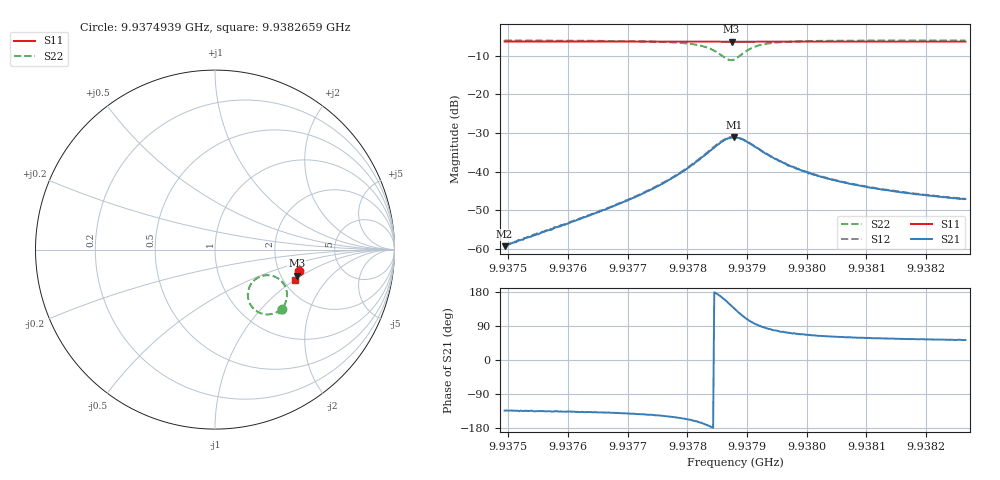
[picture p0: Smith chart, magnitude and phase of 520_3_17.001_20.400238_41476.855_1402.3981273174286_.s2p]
#  HZ  S  RI  R  50.00
! Rohde & Schwarz Vector Network Analyzer
! Rohde-Schwarz,ZNB20-2Port,1311601062101988,3.16
! Created: UTC 3/20/2024, 11:15:22 PM
! freq[Hz]  re:S11  im:S11  re:S21  im:S21  re:S12  im:S12  re:S22  im:S22
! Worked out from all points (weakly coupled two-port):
!   401 points, 9.9374939 GHz to 9.9382659 GHz, reference 50 ohm
!   highest |S21| = -31.13 dB at 9.9378779 GHz (marker M1); lowest = -59.3 dB at 9.9374939 GHz (marker M2)
!   lowest |S11| = -6.4 dB at 9.9378741 GHz (marker M3), VSWR 2.83, Z = 122 - j45.5 ohm
!   |S11| at or under -10 dB: nowhere
!   |S22| runs from -11.2 to -6.1 dB; largest |S21 - S12| = 0.0012
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9.93749385e9  0.4674 -0.1211  -0.00075 -0.000788  -0.000802 -0.000773  0.371 -0.33
9.93762316e9  0.4645 -0.1297  -0.00183 -0.00172  -0.00186 -0.00167  0.3552 -0.342
9.93770422e9  0.4623 -0.1353  -0.00345 -0.00276  -0.00355 -0.0027  0.3369 -0.3517
9.93775248e9  0.461 -0.1386  -0.0055 -0.00368  -0.00568 -0.00368  0.317 -0.3584
9.93778915e9  0.4597 -0.1413  -0.00865 -0.00435  -0.00888 -0.00431  0.2893 -0.361
9.93781231e9  0.4588 -0.1427  -0.0122 -0.00427  -0.0124 -0.00422  0.2602 -0.3565
9.93782968e9  0.4578 -0.1438  -0.0162 -0.00286  -0.0166 -0.00268  0.2294 -0.3412
9.93784319e9  0.4569 -0.1444  -0.02 -0.000272  -0.0206 0.000366  0.202 -0.3137
9.9378567e9  0.4561 -0.1446  -0.0235 0.00558  -0.0238 0.0063  0.1834 -0.2631
9.93786635e9  0.4557 -0.1445  -0.0239 0.0115  -0.024 0.0126  0.1897 -0.2147
9.93787407e9  0.4555 -0.1445  -0.0219 0.0167  -0.0219 0.0177  0.2124 -0.1777
9.93787793e9  0.4556 -0.1443  -0.0203 0.0189  -0.02 0.0199  0.2288 -0.163
9.93787986e9  0.4556 -0.1444  -0.0192 0.02  -0.019 0.0209  0.2382 -0.1571
9.93788951e9  0.4561 -0.1445  -0.0134 0.0228  -0.0129 0.0236  0.2879 -0.1429
9.93790302e9  0.4566 -0.1453  -0.00589 0.0229  -0.00536 0.0233  0.3458 -0.1569
9.93792425e9  0.457 -0.1469  0.000674 0.0186  0.00112 0.0187  0.3889 -0.2013
9.93794355e9  0.4568 -0.1485  0.00291 0.0149  0.00325 0.0149  0.3999 -0.234
9.93797057e9  0.4563 -0.1507  0.00375 0.0113  0.00417 0.0114  0.4009 -0.2639
9.93800917e9  0.4555 -0.1534  0.00387 0.00836  0.00404 0.00844  0.3956 -0.2886
9.93806707e9  0.454 -0.1574  0.00358 0.00616  0.00372 0.00616  0.3867 -0.3087
9.93813848e9  0.4519 -0.1622  0.00315 0.00475  0.00329 0.00475  0.3775 -0.3225
9.93826586e9  0.4485 -0.1704  0.00268 0.00352  0.00276 0.00352  0.3656 -0.3371
